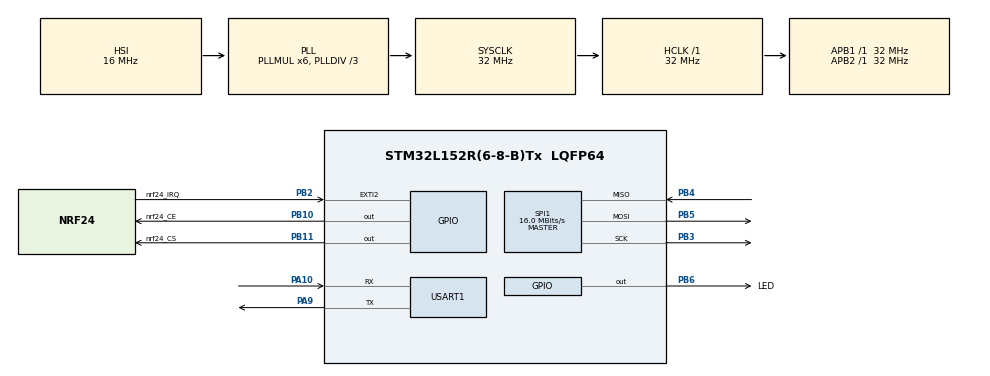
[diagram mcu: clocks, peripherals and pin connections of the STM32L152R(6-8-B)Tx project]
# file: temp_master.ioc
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Mcu.Family=STM32L1
Mcu.Name=STM32L152R(6-8-B)Tx
Mcu.Package=LQFP64
NVIC.EXTI2_IRQn=true\:0\:0\:false\:false\:true\:true\:true
NVIC.PriorityGroup=NVIC_PRIORITYGROUP_4
PA10.Mode=Asynchronous
PA10.Signal=USART1_RX
PA9.Mode=Asynchronous
PA9.Signal=USART1_TX
PB10.GPIO_Label=nrf24_CE
PB10.Signal=GPIO_Output
PB11.GPIO_Label=nrf24_CS
PB11.Signal=GPIO_Output
PB2.GPIO_Label=nrf24_IRQ
PB2.GPIO_PuPd=GPIO_PULLUP
PB2.Signal=GPXTI2
PB3.Mode=Full_Duplex_Master
PB3.Signal=SPI1_SCK
PB4.Mode=Full_Duplex_Master
PB4.Signal=SPI1_MISO
PB5.Mode=Full_Duplex_Master
PB5.Signal=SPI1_MOSI
PB6.GPIO_Label=LED
PB6.Signal=GPIO_Output
ProjectManager.HeapSize=0x200
ProjectManager.StackSize=0x400
ProjectManager.TargetToolchain=SW4STM32
RCC.48MHZClocksFreq_Value=48000000
RCC.AHBFreq_Value=32000000
RCC.APB1Freq_Value=32000000
RCC.APB1TimFreq_Value=32000000
RCC.APB2Freq_Value=32000000
RCC.APB2TimFreq_Value=32000000
RCC.HCLKFreq_Value=32000000
RCC.HSE_VALUE=8000000
RCC.HSI_VALUE=16000000
RCC.LSE_VALUE=32768
RCC.MSI_VALUE=2097000
RCC.PLLDIV=RCC_PLL_DIV3
RCC.PLLMUL=RCC_PLL_MUL6
RCC.RTCClockSelectionVirtual=RCC_RTCCLKSOURCE_LSE
RCC.SYSCLKFreq_VALUE=32000000
RCC.SYSCLKSource=RCC_SYSCLKSOURCE_PLLCLK
RCC.USBOutput=48000000
RCC.VCOOutputFreq_Value=96000000
SPI1.BaudRatePrescaler=SPI_BAUDRATEPRESCALER_2
SPI1.CalculateBaudRate=16.0 MBits/s
SPI1.Direction=SPI_DIRECTION_2LINES
SPI1.Mode=SPI_MODE_MASTER
SPI1.VirtualType=VM_MASTER
USART1.VirtualMode=VM_ASYNC
VP_TIM2_VS_ClockSourceINT.Mode=Internal
board=STM32L-DISCOVERY

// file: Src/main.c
/* USER CODE BEGIN Header */
/**
  ******************************************************************************
  * @file           : main.c
  * @brief          : Main program body
  ******************************************************************************
  * @attention
  *
  * <h2><center>&copy; Copyright (c) 2019 STMicroelectronics.
  * All rights reserved.</center></h2>
  *
  * This software component is licensed by ST under BSD 3-Clause license,
  * the "License"; You may not use this file except in compliance with the
  * License. You may obtain a copy of the License at:
  *                        opensource.org/licenses/BSD-3-Clause
  *
  ******************************************************************************
  */
/* USER CODE END Header */

#include "main.h"
#include "spi.h"
#include "tim.h"
#include "usart.h"
#include "gpio.h"

#include "string.h"
#include "stdio.h"

typedef enum {
	NRF24L01_Transmit_Status_Lost = 0x00, /*!< Message is lost, reached maximum number of retransmissions */
	NRF24L01_Transmit_Status_Ok = 0x01, /*!< Message sent successfully */
	NRF24L01_Transmit_Status_Sending = 0xFF /*!< Message is still sending */
} NRF24L01_Transmit_Status_t;
/* USER CODE BEGIN PTD */
#define BLINK_LED(n) for(uint8_t i=0;i<n;i++){\
	HAL_GPIO_WritePin(LED_GPIO_Port, LED_Pin, GPIO_PIN_SET);\
	HAL_Delay(10); HAL_GPIO_WritePin(LED_GPIO_Port, LED_Pin, GPIO_PIN_RESET);\
	HAL_Delay(10);}

#define Check_bit(reg, bit)       (reg & (1 << bit))

#define CE_LOW				HAL_GPIO_WritePin(GPIOB, nrf24_CE_Pin, GPIO_PIN_RESET)
#define CE_HIGH				HAL_GPIO_WritePin(GPIOB, nrf24_CE_Pin, GPIO_PIN_SET)
#define CSN_LOW				HAL_GPIO_WritePin(GPIOB, nrf24_CS_Pin, GPIO_PIN_RESET)
#define CSN_HIGH			HAL_GPIO_WritePin(GPIOB, nrf24_CS_Pin, GPIO_PIN_SET)

#define Clear_IRQ   do { W_Register(0x07, 0x70); } while (0)

#define nrf24l01_CONFIG			((1 << EN_CRC) | (0 << CRCO))

/* Configuration register*/
#define RX_DR		6
#define TX_DS		5
#define MAX_RT		4
#define EN_CRC		3
#define CRCO		2
#define PWR_UP		1
#define PRIM_RX		0

/* FIFO status*/
#define RX_EMPTY	0

/*Dynamic length*/
#define NRF24L01_DPL_P0			0
#define NRF24L01_DPL_P1			1
#define NRF24L01_DPL_P2			2
#define NRF24L01_DPL_P3			3
#define NRF24L01_DPL_P4			4
#define NRF24L01_DPL_P5			5

/* NRF24L01+ registers*/
#define STATUS 			0x07
#define RF_CH 			0x05
#define RF_SETUP 		0x06
#define FLUSH_TX 		0xE1
#define FLUSH_RX 		0xE2
#define RX_ADDR_P0 		0x0A
#define RX_ADDR_P1 		0x0B
#define TX_ADDR 		0x10
#define CONFIG 			0x00
#define RX_PW_P0 		0x11
#define RX_PW_P1 		0x12
#define W_TX_PAYLOAD 	0xA0
#define R_RX_PAYLOAD 	0x61
#define NOP 			0xFF
#define FIFO_STATUS 	0x17
#define RXFIFO_EMPTY 	0x01
#define W_REGISTER 		0x20
#define EN_RXADDR 		0x02
#define EN_AA 			0x01
#define SETUP_RETR 		0x04
#define SETUP_AW 		0x03
#define DYNPD 			0x1C
#define FEATURE 		0x1D
#define R_RX_PL_WID 	0x60
/* USER CODE END PTD */

uint8_t nrf24_Init();
void NRF24L01_InitPins(void);
void WriteBit(uint8_t reg, uint8_t bit, uint8_t value);
uint8_t ReadBit(uint8_t reg, uint8_t bit);
void Flush(uint8_t data);
void CheckReg();
uint8_t DataReady(void);
uint8_t RxFifoEmpty(void);
uint8_t GetStatus(void);
uint8_t ReadReg(uint8_t reg, uint8_t param);
uint8_t ReadBit(uint8_t reg, uint8_t bit);
void Transmit(uint8_t *data);
void GetData(uint8_t* data) ;
void PowerUpRx(void);
void PowerUpTx(void);
NRF24L01_Transmit_Status_t GetTransmissionStatus(void) ;
void uart_disp(char *text);
void uart_int_disp(uint8_t value);
void SetAddress(uint8_t reg, uint8_t *addr, uint8_t len);

volatile enum {
	SEND_CMD, WAITING_FOR_DATA, DATA_READY
} RF_state;

/* Transmission status enumeration*/

void HAL_GPIO_EXTI_Callback(uint16_t GPIO_Pin) {

	if (GPIO_Pin == nrf24_IRQ_Pin)
		if (DataReady()) //check bit RX_DR=1 (asserted when new data arrives) or RX_EMPTY
			RF_state = DATA_READY;

}

void SystemClock_Config(void);

int main(void)
{
	uint8_t TxAddress[] = { 0xE7, 0xE7, 0xE7, 0xE7, 0xE7 };
	uint8_t MyAddress[] = { 0x7E, 0x7E, 0x7E, 0x7E, 0x7E };
	uint8_t dataIn[32];

	NRF24L01_Transmit_Status_t transmissionStatus;

  /* MCU Configuration--------------------------------------------------------*/

  /* Reset of all peripherals, Initializes the Flash interface and the Systick. */
  HAL_Init();

  /* Configure the system clock */
  SystemClock_Config();

  /* Initialize all configured peripherals */
  MX_GPIO_Init();
  MX_SPI1_Init();
  MX_TIM2_Init();
  MX_USART1_UART_Init();
  /* USER CODE BEGIN 2 */
  HAL_TIM_Base_Start(&htim2);
  HAL_NVIC_EnableIRQ(EXTI2_IRQn);
  /* USER CODE END 2 */

  nrf24_Init();
  CheckReg();
  WriteBit(CONFIG, TX_DS, 1);
  WriteBit(CONFIG, MAX_RT, 1);
  SetAddress(RX_ADDR_P0, TxAddress, 5);
  SetAddress(TX_ADDR, TxAddress, 5);
  SetAddress(RX_ADDR_P1, MyAddress, 5);

  RF_state = SEND_CMD;
  uint32_t check_temp = 0;

  /* Infinite loop */
  while (1)
  {
		switch (RF_state) {
			case SEND_CMD:
				HAL_Delay(500);
				BLINK_LED(1);
				uint8_t dataOut[32] = {check_temp};
				__HAL_TIM_SET_COUNTER(&htim2, 0);

				Transmit(dataOut);
				do {
					transmissionStatus = GetTransmissionStatus();
				} while (transmissionStatus == NRF24L01_Transmit_Status_Sending);
				PowerUpRx();
				if (transmissionStatus == NRF24L01_Transmit_Status_Ok) {
					uart_disp("ACK, Slave received command\n\r");
				} else if (transmissionStatus == NRF24L01_Transmit_Status_Lost) {
					uart_disp("NOACK, Lost ACK from Slave.\n\r");
				} else {
					/* This should never happen */
					uart_disp("SENDING\n\r");
				}

				RF_state = WAITING_FOR_DATA;
			    __HAL_TIM_SET_COUNTER(&htim2, 0);
				//break;

			case WAITING_FOR_DATA:
				HAL_Delay(1);
				if (__HAL_TIM_GET_COUNTER(&htim2) > 1000) {
					uart_disp("No response for more than 1s\n\r");
					__HAL_TIM_SET_COUNTER(&htim2, 0);
					RF_state = SEND_CMD;
				}
				break;

			case DATA_READY:
				do {
					GetData(dataIn);
					WriteBit(STATUS, RX_DR, 1);
				} while (!ReadBit(FIFO_STATUS, RX_EMPTY));
				HAL_Delay(1);
				uart_disp("Temperature:");
				uart_int_disp(dataIn[0]);
				if( -57 < dataIn[0] && dataIn[0] < 127) check_temp = 1;
				else check_temp = 0;
				RF_state = SEND_CMD;
				for( int i=0; i<32; i++)
				 	dataIn[i] = 0;
				break;
			}

		}

 }

void SystemClock_Config(void)
{
  RCC_OscInitTypeDef RCC_OscInitStruct = {0};
  RCC_ClkInitTypeDef RCC_ClkInitStruct = {0};

  /** Configure the main internal regulator output voltage
  */
  __HAL_PWR_VOLTAGESCALING_CONFIG(PWR_REGULATOR_VOLTAGE_SCALE1);
  /** Initializes the CPU, AHB and APB busses clocks
  */
  RCC_OscInitStruct.OscillatorType = RCC_OSCILLATORTYPE_HSI;
  RCC_OscInitStruct.HSIState = RCC_HSI_ON;
  RCC_OscInitStruct.HSICalibrationValue = RCC_HSICALIBRATION_DEFAULT;
  RCC_OscInitStruct.PLL.PLLState = RCC_PLL_ON;
  RCC_OscInitStruct.PLL.PLLSource = RCC_PLLSOURCE_HSI;
  RCC_OscInitStruct.PLL.PLLMUL = RCC_PLL_MUL6;
  RCC_OscInitStruct.PLL.PLLDIV = RCC_PLL_DIV3;
  if (HAL_RCC_OscConfig(&RCC_OscInitStruct) != HAL_OK)
  {
    Error_Handler();
  }
  /** Initializes the CPU, AHB and APB busses clocks
  */
  RCC_ClkInitStruct.ClockType = RCC_CLOCKTYPE_HCLK|RCC_CLOCKTYPE_SYSCLK
                              |RCC_CLOCKTYPE_PCLK1|RCC_CLOCKTYPE_PCLK2;
  RCC_ClkInitStruct.SYSCLKSource = RCC_SYSCLKSOURCE_PLLCLK;
  RCC_ClkInitStruct.AHBCLKDivider = RCC_SYSCLK_DIV1;
  RCC_ClkInitStruct.APB1CLKDivider = RCC_HCLK_DIV1;
  RCC_ClkInitStruct.APB2CLKDivider = RCC_HCLK_DIV1;

  if (HAL_RCC_ClockConfig(&RCC_ClkInitStruct, FLASH_LATENCY_1) != HAL_OK)
  {
    Error_Handler();
  }
}

void Error_Handler(void)
{
}

void W_Register(uint8_t reg, uint8_t value)
{
	 reg = reg | W_REGISTER;
	 CSN_LOW;
	 HAL_SPI_Transmit(&hspi1, &reg,1,1000);
	 HAL_SPI_Transmit(&hspi1, &value,1,1000);
	 CSN_HIGH;
}

void NRF24L01_InitPins(void)
{
	/* CSN high = disable SPI */
	CSN_HIGH;

	/* CE low = disable TX/RX */
	CE_LOW;
}

uint8_t nrf24_Init()
{
	NRF24L01_InitPins();
    W_Register(RF_CH,0x5A);
    W_Register(RF_SETUP, 0x06); // TX_PWR:0dBm, Datarate:2Mbps
    W_Register(CONFIG,nrf24l01_CONFIG);
    W_Register(EN_AA, 0x3F); //// Enable Auto.Ack:Pipe0
    W_Register(EN_RXADDR, 0x3F); //  Enable data pipe 0.
    /* Auto retransmit delay: 1000 (4x250) us and Up to 15 retransmit trials */
    W_Register(SETUP_RETR, 0x4F); //odpowiada za automatyczna retransmisje ???
    W_Register(RX_PW_P0, 32);
    W_Register(RX_PW_P1, 32);
    /* Dynamic length configurations: No dynamic length */
    W_Register(DYNPD, (0 << NRF24L01_DPL_P0) | (0 << NRF24L01_DPL_P1) | (0 << NRF24L01_DPL_P2) | (0 << NRF24L01_DPL_P3) | (0 << NRF24L01_DPL_P4) | (0 << NRF24L01_DPL_P5));

    Flush(FLUSH_RX);
    Flush(FLUSH_TX);

    Clear_IRQ;

   	PowerUpRx();

   	/* Return OK */
   	return 1;
}

void PowerUpRx(void)
{
	CE_LOW;

	Flush(FLUSH_RX);;

	Clear_IRQ;

	/* RX mode */
	WriteBit(CONFIG, PWR_UP, 1);
	WriteBit(CONFIG, PRIM_RX, 1);

	/* Start listening */
	CE_HIGH;
}

void PowerUpTx(void)
{
	Clear_IRQ;

	WriteBit(CONFIG, PWR_UP, 1);
	WriteBit(CONFIG, PRIM_RX, 0);
}

void WriteBit(uint8_t reg, uint8_t bit, uint8_t value)
{
	uint8_t tmp;

	tmp = ReadReg(reg,1);

	if (value) {
		tmp |= 1 << bit;
	} else {
		tmp &= ~(1 << bit);
	}

	W_Register(reg, tmp);
}

void Flush(uint8_t data)
{
	 CSN_LOW;
	 HAL_SPI_Transmit(&hspi1, &data, 1, 200);
	 CSN_HIGH;
}

uint8_t DataReady(void)
{
	uint8_t status = GetStatus();

	if (Check_bit(status, RX_DR)) {
		return 1;
	}
	return !RxFifoEmpty();
}

uint8_t RxFifoEmpty(void)
{
	uint8_t reg = ReadReg(FIFO_STATUS,1);
	return Check_bit(reg, RX_EMPTY);
}

uint8_t GetStatus(void)
{
	uint8_t status;
	uint8_t reg = NOP;
	CSN_LOW;

	/* First received byte is always status register */
	HAL_SPI_TransmitReceive(&hspi1, &reg, &status , 1, 100);

	CSN_HIGH;

	return status;
}

uint8_t ReadReg(uint8_t reg, uint8_t param)
{
	uint8_t data[16];

	CSN_LOW;

	HAL_SPI_Transmit(&hspi1, &reg, 1,100);
	HAL_SPI_Receive(&hspi1,data,param,100);

	CSN_HIGH;

	return data[param-1];
}

void Transmit(uint8_t *data)
{
	uint8_t count = 32;
	uint8_t cmd;

	CE_LOW;

	PowerUpTx();

	cmd = FLUSH_TX;
	CSN_LOW;
	HAL_SPI_Transmit(&hspi1, &cmd, 1, 100);
	CSN_HIGH;

	CSN_LOW;

	cmd = W_TX_PAYLOAD;
	HAL_SPI_Transmit(&hspi1, &cmd, 1, 100);

	HAL_SPI_Transmit(&hspi1, data, count, 100);

	CSN_HIGH;

	CE_HIGH;
}

void GetData(uint8_t* data)
{
	uint8_t cmd = R_RX_PAYLOAD;

	CSN_LOW;

	HAL_SPI_Transmit(&hspi1, &cmd , 1, 100);

	HAL_SPI_Receive(&hspi1, data, 32, 100);

	CSN_HIGH;

	W_Register(STATUS, (1 << RX_DR));
}

uint8_t ReadBit(uint8_t reg, uint8_t bit)
{
	uint8_t tmp;
	tmp = ReadReg(reg,1);
	if (!Check_bit(tmp, bit)) {
		return 0;
	}
	return 1;
}

void SetAddress(uint8_t reg, uint8_t *addr, uint8_t len)
{
	 reg=reg+W_REGISTER;
	 CSN_LOW;
	 HAL_SPI_Transmit(&hspi1, &reg,1,1000);

	 for(int i=0; i<len; i++)
	 {
		 HAL_SPI_Transmit(&hspi1,&addr[i],1,1000);
		 HAL_Delay(10);
	 }

	 CSN_HIGH;
 }

void CheckReg()
{
	/* Check  register value*/
	 if(ReadReg(RF_CH,1)==0x5A)
	 {
		 uart_disp("1.RF_CH poprawna wartosc");
	 }
	 if(ReadReg(RF_SETUP,1)==0x06)
	 {
		 uart_disp("2.RF_SETUP poprawna wartosc");
	 }
	 if(ReadReg(CONFIG,1)== 0x0B)
	 {
		 uart_disp("3.CONFIG poprawna wartosc");
	 }
	 if(ReadReg(EN_AA,1)==0x3F)
	 {
		 uart_disp("4.EN_AA poprawna wartosc");
	 }
	 if(ReadReg(SETUP_RETR,1)==0x4F)
	 {
		 uart_disp("5.SETUP_RETR poprawna wartosc");
	 }
	 if(ReadReg(RX_PW_P0,1)==32)
	 {
		 uart_disp("6.RX_PW_P0 poprawna wartosc");
	 }
	 if(ReadReg(TX_ADDR,1)==0xE7)
	 {
		 uart_disp("TX_ADDR[0] poprawna wartosc");
	 }
	 if(ReadReg(TX_ADDR,2)==0xE7)
	 {
		 uart_disp("TX_ADDR[1] poprawna wartosc");
	 }
	 if(ReadReg(TX_ADDR,3)==0xE7)
	 {
	 	 uart_disp("TX_ADDR[2] poprawna wartosc");
	 }
	 if(ReadReg(TX_ADDR,4)==0xE7)
	 {
	 	 uart_disp("TX_ADDR[3] poprawna wartosc");
	 }
	 if(ReadReg(TX_ADDR,5)==0xE7)
	 {
		 uart_disp("TX_ADDR[4] poprawna wartosc");
	 }
	 if(ReadReg(RX_ADDR_P1,1)==0x7E)
	 {
	 	 uart_disp("RX_ADDR_P1[0] poprawna wartosc");
	 }
	 if(ReadReg(RX_ADDR_P1,2)==0x7E)
	 {
		 uart_disp("RX_ADDR_P1[1] poprawna wartosc");
	 }
	 if(ReadReg(RX_ADDR_P1,3)==0x7E)
	 {
	  	 uart_disp("RX_ADDR_P1[2] poprawna wartosc");
	 }
	 if(ReadReg(RX_ADDR_P1,4)==0x7E)
	 {
	  	 uart_disp("RX_ADDR_P1[3] poprawna wartosc");
	 }
	 if(ReadReg(RX_ADDR_P1,5)==0x7E)
	 {
	  	 uart_disp("RX_ADDR_P1[4] poprawna wartosc");
 	 }
}

NRF24L01_Transmit_Status_t GetTransmissionStatus(void) {
	uint8_t status = GetStatus();
	if (Check_bit(status, TX_DS)) {
		/* Successfully sent */
		return NRF24L01_Transmit_Status_Ok;
	} else if (Check_bit(status, MAX_RT)) {
		/* Message lost */
		return NRF24L01_Transmit_Status_Lost;
	}
	/* Still sending */
	return NRF24L01_Transmit_Status_Sending;
}

void uart_disp(char *text)
{
	 HAL_UART_Transmit(&huart1, text, strlen(text), 1000);
	 HAL_UART_Transmit(&huart1, "\r\n", 2, 1000);
}

void uart_int_disp(uint8_t value)
{
	char buffer[16];
	HAL_UART_Transmit(&huart1, (uint8_t*)buffer, sprintf(buffer, "%d", value), 1000);
	HAL_UART_Transmit(&huart1, "\r\n", 2, 1000);
}

/************************ (C) COPYRIGHT STMicroelectronics *****END OF FILE****/
